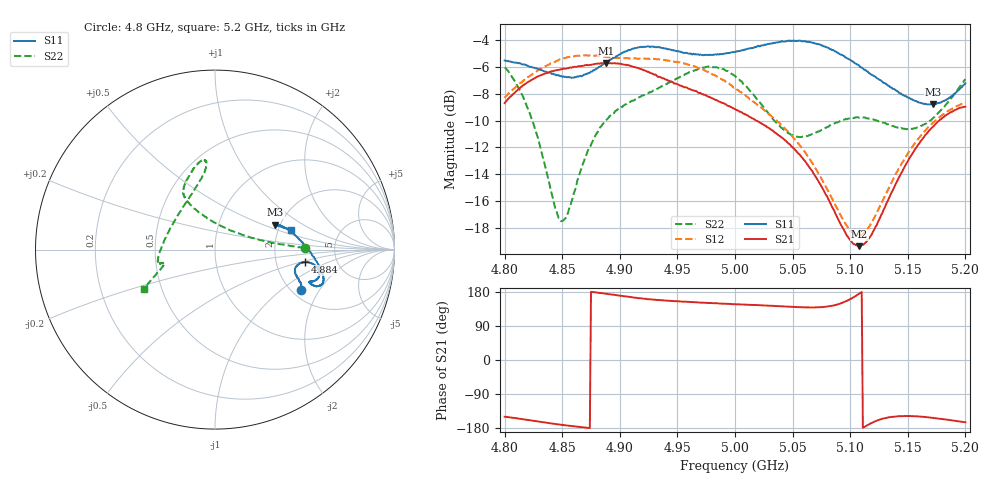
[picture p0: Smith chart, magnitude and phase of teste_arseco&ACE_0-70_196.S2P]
! Network Analyzer HP8722D
! Hewlett-Packard
! Data name: Linha & Wilkinson
! Saver's name: Rodrigo Anjos
! Comments: Teste da utilização de aquisição
! continua pelo VNA HP8722D
! Time and date: 8/5/2025 14:23
!  Frequency  S11  S21  S12  S22
# HZ  S  MA R 50
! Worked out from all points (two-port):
!   401 points, 4.8 GHz to 5.2 GHz, reference 50 ohm
!   highest |S21| = -5.68 dB at 4.888 GHz (marker M1); lowest = -19.4 dB at 5.108 GHz (marker M2)
!   |S21| within 3 dB of the highest: 4.8 GHz to 4.989 GHz (189.1 MHz wide, 3.86 % of centre)
!   lowest |S11| = -8.8 dB at 5.172 GHz (marker M3), VSWR 2.14, Z = 94.5 + j30.1 ohm
!   |S11| at or under -10 dB: nowhere
!   |S22| runs from -17.5 to -5.9 dB; largest |S21 - S12| = 1.1
!   S11 on the Smith chart (normalised r, x): 4.8 GHz: 2.23, -1.41; 4.884 GHz: 2.96, -0.54; 5.2 GHz: 2.34, +0.65
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4.8e9  0.5313 -25.4  0.3681 -149.8  0.3852 9.8  0.4999 1.2
4.811e9  0.5207 -22.7  0.4116 -154.2  0.4281 8.2  0.4285 2.7
4.822e9  0.5029 -20.7  0.4449 -159.0  0.4657 6.5  0.3356 6.0
4.848e9  0.4648 -16.1  0.4905 -170.4  0.5361 2.5  0.1357 56.1
4.855e9  0.4601 -14.4  0.4971 -173.1  0.5464 1.1  0.1428 85.5
4.867e9  0.4636 -10.9  0.5067 -177.3  0.5539 -0.5  0.2114 110.9
4.884e9  0.5084 -7.7  0.5196 176.3  0.549 -1.5  0.3017 119.3
4.888e9  0.5229 -7.7  0.5203 174.8  0.5476 -1.8  0.3176 119.9
4.913e9  0.591 -11.2  0.5017 164.7  0.5425 -1.2  0.3786 117.7
4.934e9  0.5948 -16.0  0.4613 158.2  0.5371 -2.1  0.42 111.9
4.976e9  0.5573 -19.0  0.3904 150.7  0.482 -5.8  0.5034 98.1
5e9  0.5719 -19.8  0.3492 147.2  0.4214 -5.7  0.4648 96.3
5.018e9  0.5966 -19.9  0.3169 145.1  0.3671 -3.1  0.3861 103.2
5.044e9  0.6265 -17.9  0.2661 141.1  0.2936 2.5  0.288 131.6
5.067e9  0.619 -13.6  0.2052 138.7  0.22 9.1  0.282 164.9
5.096e9  0.5452 -3.7  0.1202 154.5  0.13 34.8  0.3215 -171.5
5.108e9  0.5066 1.9  0.1074 175.3  0.1182 58.2  0.3247 -167.7
5.118e9  0.4714 7.0  0.1175 -167.0  0.1302 77.3  0.3217 -166.4
5.134e9  0.4254 14.8  0.1634 -151.0  0.1788 94.6  0.3042 -166.0
5.155e9  0.3773 21.7  0.2424 -148.3  0.2565 101.0  0.2961 -164.0
5.172e9  0.364 22.3  0.3007 -152.7  0.3113 101.7  0.3238 -160.1
5.2e9  0.4368 14.8  0.3569 -164.3  0.3701 102.1  0.4524 -150.9
